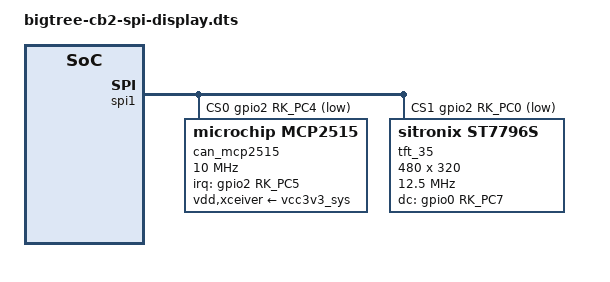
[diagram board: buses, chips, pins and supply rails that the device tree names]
/dts-v1/;
/plugin/;

#include <dt-bindings/gpio/gpio.h>
#include <dt-bindings/pinctrl/rockchip.h>
#include <dt-bindings/power/rk3568-power.h>
#include <dt-bindings/interrupt-controller/irq.h>

/ {
	
	fragment@0 {
		target = <&spi1>;

		__overlay__ {
			status = "okay";
			max-freq = <10000000>;
			#address-cells = <1>;
			#size-cells = <0>;
			cs-gpios = <&gpio2 RK_PC4 GPIO_ACTIVE_LOW>,
					<&gpio2 RK_PC0 GPIO_ACTIVE_LOW>,
					<&gpio2 RK_PC6 GPIO_ACTIVE_LOW>;
			can_mcp2515: can-mcp2515@0 {
				status = "okay";
				compatible = "microchip,mcp2515";
				reg = <0>;
				interrupt-parent = <&gpio2>;
				interrupts = <RK_PC5 IRQ_TYPE_LEVEL_LOW>;
				spi-max-frequency = <10000000>;
				clocks = <&can_mcp2515_osc>;
				vdd-supply = <&vcc3v3_sys>;
				xceiver-supply = <&vcc3v3_sys>;
				pinctrl-names = "default";
				pinctrl-0 = <&mcp2515_int_pin>;
			};
		
			tft_35: st7789v@1 {
				status = "okay";
				compatible = "sitronix,st7796s";
				reg = <1>;
				spi-max-frequency =<12500000>;
				fps =<60>;
				buswidth = <8>;
				rotate =<0>;
				width = <480>;
				height = <320>;
				bpp = <24>;
				bgr;
				regwidth = <8>;
				debug = <0x00>;	 //0x20 show fps
				txbuflen = <8192>;
				spi-cpol;
				spi-cpha;
				// dc-gpios  = <&pio 2 14 GPIO_ACTIVE_HIGH>; /* PC14 */
				dc-gpios  = <&gpio0 RK_PC7 GPIO_ACTIVE_HIGH>;
			};
									
		};
	};
	
};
